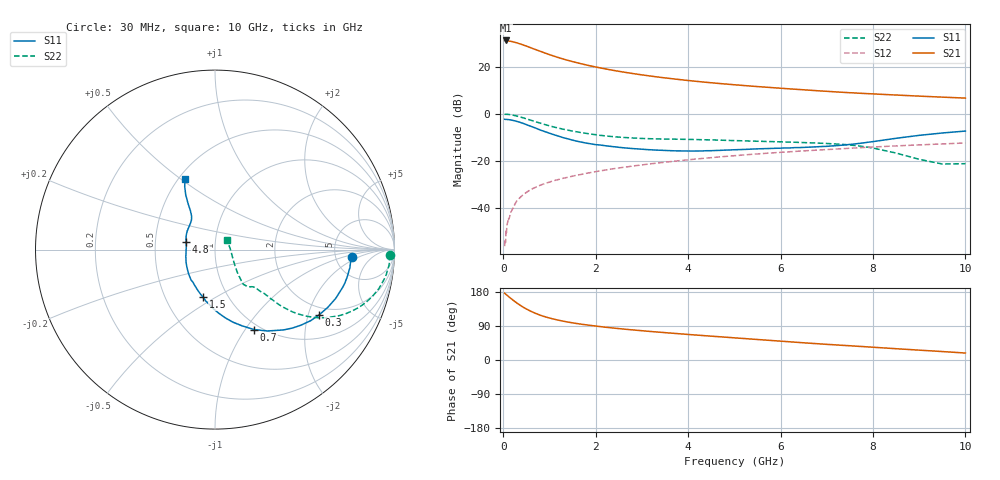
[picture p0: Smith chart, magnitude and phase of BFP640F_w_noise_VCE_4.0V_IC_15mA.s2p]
! Infineon Technologies  Discrete & RF Semiconductors
! BFP640F
! VCE =  4.0 V,  IC =  15 mA
! Common Emitter S-Parameters:  Apr 2013
# GHz  S  MA  R  50
!  f  S11  S21  S12  S22
! GHz  MAG  ANG  MAG  ANG  MAG  ANG  MAG  ANG
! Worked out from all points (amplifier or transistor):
!   99 points, 30 MHz to 10 GHz, reference 50 ohm
!   highest |S21| = 31.3 dB at 50 MHz (marker M1)
!   |S21| within 3 dB of that: start of sweep to 582.4 MHz
!   unconditionally stable (mu >= 1): 2.511 GHz to end of sweep
!   at 350 MHz: K = 0.31, MSG = 33.0 dB, |S12| = -36.0 dB
!   at 3.5 GHz: K = 1.05, MAG = 16.6 dB, |S12| = -20.7 dB
!   at 10 GHz: K = 1.06, MAG = 8.1 dB, |S12| = -12.5 dB
!   lowest NFmin = 0.74 dB at 450 MHz
!   S11 on the Smith chart (normalised r, x): 30 MHz: 7.16, -1.41; 300 MHz: 1.73, -2.36; 700 MHz: 0.93, -1.10; 1.5 GHz: 0.77, -0.44; 4.8 GHz: 0.72, +0.07; 10 GHz: 0.54, +0.52
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0.03  0.7631 -3.1  36.3 176.2  0.0015 55.0  0.975 -1.7
0.04  0.7623 -4.2  36.23 175.3  0.0021 64.6  0.9748 -2.4
0.05  0.7582 -5.5  36.61 174.3  0.0018 59.9  0.9731 -3.2
0.12  0.7488 -13.3  35.77 167.0  0.0056 73.1  0.965 -8.2
0.2  0.7255 -22.0  34.52 159.1  0.0092 74.5  0.9386 -13.4
0.3  0.6851 -32.0  32.46 150.0  0.0143 73.2  0.8909 -19.3
0.4  0.6378 -41.3  30.15 141.8  0.0177 71.7  0.8358 -24.2
0.5  0.5878 -49.6  27.8 134.7  0.021 69.9  0.7808 -28.2
0.6  0.5389 -57.3  25.53 128.4  0.0244 68.9  0.7269 -31.5
0.7  0.4962 -63.9  23.37 123.1  0.027 66.9  0.6758 -34.1
0.8  0.451 -70.4  21.52 118.2  0.0299 66.3  0.6315 -36.0
1  0.3853 -81.3  18.25 110.8  0.0349 64.9  0.5536 -38.8
1.2  0.3324 -91.0  15.74 104.9  0.0397 64.0  0.4929 -40.3
1.5  0.2738 -104.1  12.95 98.0  0.0467 63.6  0.4271 -41.1
1.7  0.2474 -112.5  11.57 94.3  0.0511 63.2  0.3942 -41.4
2.4  0.1979 -138.5  8.371 84.1  0.0676 61.6  0.3238 -43.0
3.4  0.1669 -167.0  5.987 73.2  0.0903 58.6  0.2897 -45.5
4.8  0.1678 164.4  4.319 60.3  0.1229 52.9  0.2715 -48.9
5.1  0.1719 159.8  4.082 57.6  0.1297 51.5  0.2664 -49.4
6.7  0.1955 136.5  3.147 43.7  0.1658 43.5  0.239 -50.8
8.5  0.2999 120.2  2.51 29.8  0.2064 34.2  0.1453 -39.6
10  0.4276 113.0  2.159 18.4  0.2384 25.9  0.0861 40.5
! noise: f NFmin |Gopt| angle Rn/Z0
0.45  0.74  0.06  6  0.05
0.9  0.75  0.06  19  0.06
1.5  0.76  0.05  35  0.07
1.9  0.77  0.05  51  0.07
2.4  0.79  0.04  76  0.08
3.5  0.88  0.05  131  0.09
5.5  1.07  0.14  -142  0.12
10  1.56  0.4  -93  0.36
